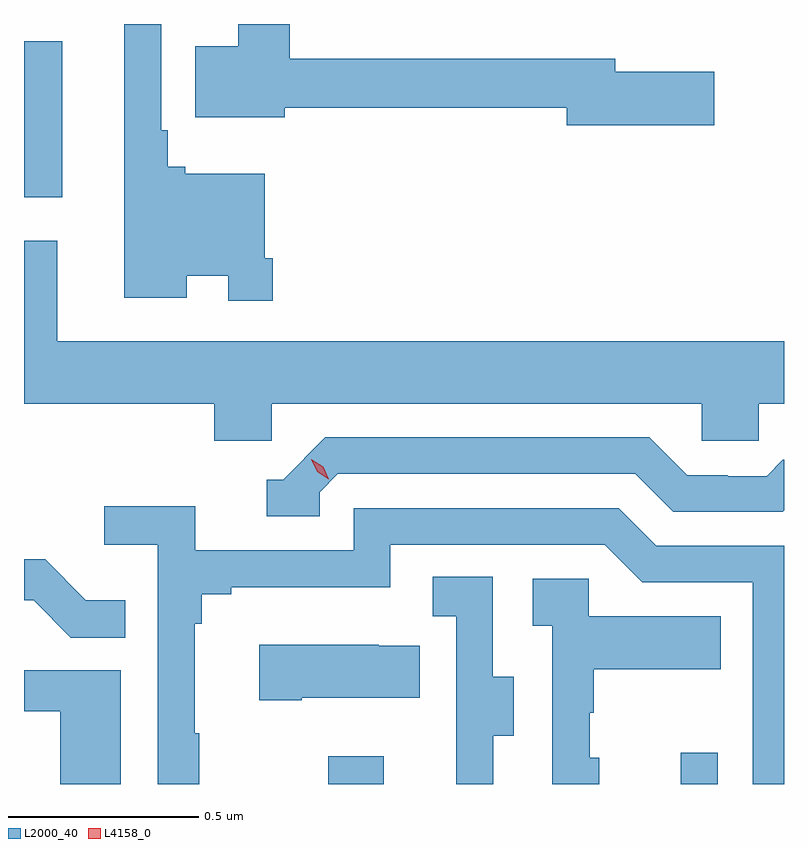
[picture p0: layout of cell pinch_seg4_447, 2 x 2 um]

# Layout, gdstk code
import gdstk
lib = gdstk.Library(unit=1e-6, precision=1e-09)
def R(c, l, rs):  # rectangles x0, y0, x1, y1
    for r in rs: c.add(gdstk.rectangle(r[:2], r[2:], *l))
def P(c, l, *ps):  # polygons
    for p in ps: c.add(gdstk.Polygon(p, *l))
L2000_40 = (2000, 40)
L4158_0 = (4158, 0)

pinch_seg4_447 = lib.new_cell('pinch_seg4_447')
R(pinch_seg4_447, L2000_40, [(929.284,777.171,929.431,777.244), (930.212,777.171,930.309,777.253), (928.484,778.715,928.585,779.125)])
P(pinch_seg4_447, L2000_40, [(930.301,779.046),(930.04,779.046),(930.04,779.08),(929.183,779.08),(929.183,779.171),(929.048,779.171),(929.048,779.113),(928.935,779.113),(928.935,778.926),(929.17,778.926),(929.17,778.951),(929.912,778.951),(929.912,778.904),(930.301,778.904)],
  [(929.138,778.555),(929.118,778.555),(929.118,778.777),(928.908,778.777),(928.908,778.795),(928.862,778.795),(928.862,778.891),(928.845,778.891),(928.845,779.171),(928.748,779.171),(928.748,778.451),(928.912,778.451),(928.912,778.508),(929.022,778.508),(929.022,778.443),(929.138,778.443)],
  [(929.136,778.172),(930.267,778.172),(930.267,778.074),(930.417,778.074),(930.417,778.172),(930.484,778.172),(930.484,778.336),(928.571,778.336),(928.571,778.6),(928.484,778.6),(928.484,778.172),(928.985,778.172),(928.985,778.074),(929.136,778.074)],
  [(929.262,777.939),(929.31,777.987),(930.093,777.987),(930.192,777.888),(930.481,777.888),(930.484,777.891),(930.484,778.024),(930.481,778.024),(930.439,777.981),(930.336,777.981),(930.336,777.984),(930.229,777.984),(930.13,778.083),(929.277,778.083),(929.166,777.972),(929.123,777.972),(929.123,777.876),(929.262,777.876)],
  [(928.945,777.305),(928.933,777.305),(928.933,777.593),(928.952,777.593),(928.952,777.67),(929.029,777.67),(929.029,777.689),(929.448,777.689),(929.448,777.801),(930.012,777.801),(930.111,777.702),(930.402,777.702),(930.402,777.171),(930.484,777.171),(930.484,777.798),(930.148,777.798),(930.049,777.897),(929.352,777.897),(929.352,777.786),(928.934,777.786),(928.934,777.902),(928.695,777.902),(928.695,777.8),(928.836,777.8),(928.836,777.171),(928.945,777.171)],
  [(928.751,777.655),(928.647,777.655),(928.54,777.762),(928.484,777.762),(928.484,777.654),(928.509,777.654),(928.607,777.556),(928.751,777.556)],
  [(929.719,777.298),(929.773,777.298),(929.773,777.453),(929.718,777.453),(929.718,777.716),(929.559,777.716),(929.559,777.613),(929.622,777.613),(929.622,777.309),(929.621,777.309),(929.621,777.171),(929.719,777.171)],
  [(929.998,777.24),(929.973,777.24),(929.973,777.359),(929.983,777.359),(929.983,777.473),(930.317,777.473),(930.317,777.613),(929.97,777.613),(929.97,777.711),(929.823,777.711),(929.823,777.587),(929.874,777.587),(929.874,777.171),(929.998,777.171)],
  [(929.215,777.398),(929.525,777.398),(929.525,777.535),(929.417,777.535),(929.417,777.538),(929.103,777.538),(929.103,777.391),(929.215,777.391)],
  [(928.738,777.471),(928.484,777.471),(928.484,777.363),(928.58,777.363),(928.58,777.171),(928.738,777.171)])
P(pinch_seg4_447, L4158_0, [(929.286,777.973),(929.256,777.993),(929.24,778.026),(929.24,778.026),(929.24,778.026),(929.271,778.006),(929.286,777.973),(929.286,777.973)])

lib.write_gds('pinch_seg4_447.gds')
